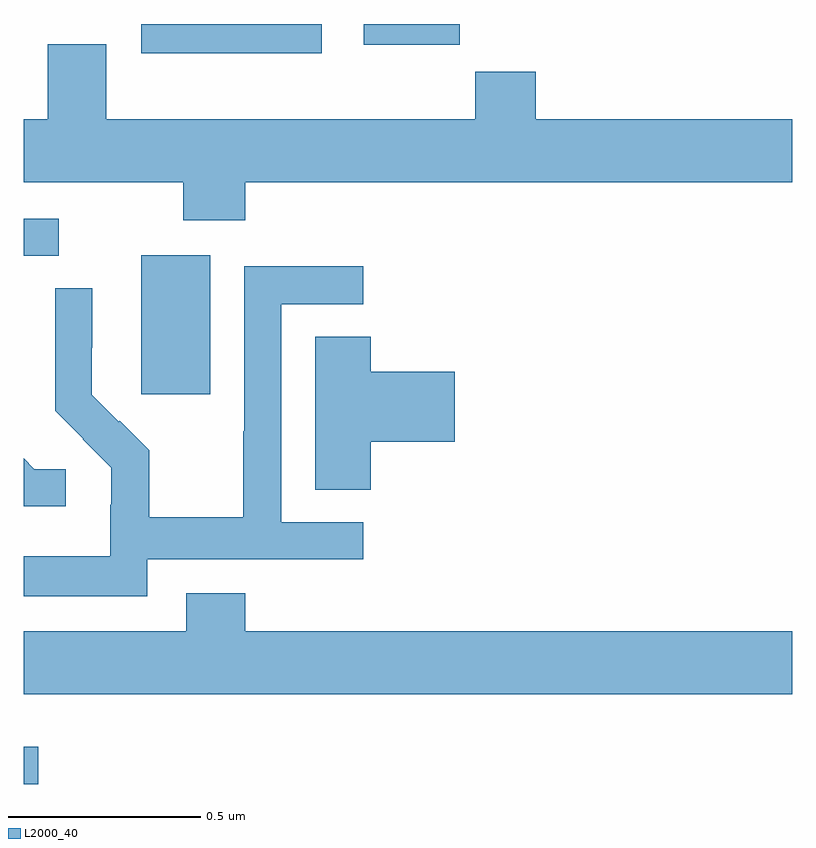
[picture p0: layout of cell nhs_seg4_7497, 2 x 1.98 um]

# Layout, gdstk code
import gdstk
lib = gdstk.Library(unit=1e-6, precision=1e-09)
def R(c, l, rs):  # rectangles x0, y0, x1, y1
    for r in rs: c.add(gdstk.rectangle(r[:2], r[2:], *l))
def P(c, l, *ps):  # polygons
    for p in ps: c.add(gdstk.Polygon(p, *l))
L2000_40 = (2000, 40)

nhs_seg4_7497 = lib.new_cell('nhs_seg4_7497')
R(nhs_seg4_7497, L2000_40, [(203,793.923,203.038,794.02), (203.306,794.937,203.485,795.298), (203,795.297,203.092,795.393), (203.306,795.824,203.776,795.9), (203.885,795.846,204.134,795.9)])
P(nhs_seg4_7497, L2000_40, [(204.175,795.776),(204.175,795.652),(203.215,795.652),(203.215,795.847),(203.063,795.847),(203.063,795.652),(203,795.652),(203,795.488),(203.416,795.488),(203.416,795.389),(203.576,795.389),(203.576,795.488),(205,795.488),(205,795.652),(204.332,795.652),(204.332,795.776)],
  [(203.322,794.508),(203.884,794.508),(203.884,794.604),(203.67,794.604),(203.67,795.171),(203.884,795.171),(203.884,795.27),(203.574,795.27),(203.574,794.84),(203.572,794.84),(203.572,794.617),(203.327,794.617),(203.327,794.791),(203.25,794.868),(203.247,794.865),(203.177,794.936),(203.177,795.058),(203.178,795.058),(203.178,795.212),(203.082,795.212),(203.082,794.894),(203.155,794.821),(203.154,794.82),(203.228,794.746),(203.228,794.649),(203.226,794.649),(203.226,794.515),(203,794.515),(203,794.411),(203.322,794.411)],
  [(203.903,794.813),(204.121,794.813),(204.121,794.996),(203.903,794.996),(203.903,795.086),(203.759,795.086),(203.759,794.689),(203.903,794.689)],
  [(203.11,794.742),(203.028,794.742),(203,794.77),(203,794.645),(203.11,794.645)],
  [(205,794.32),(203.576,794.32),(203.576,794.419),(203.423,794.419),(203.423,794.32),(203,794.32),(203,794.156),(205,794.156)])

lib.write_gds('nhs_seg4_7497.gds')
